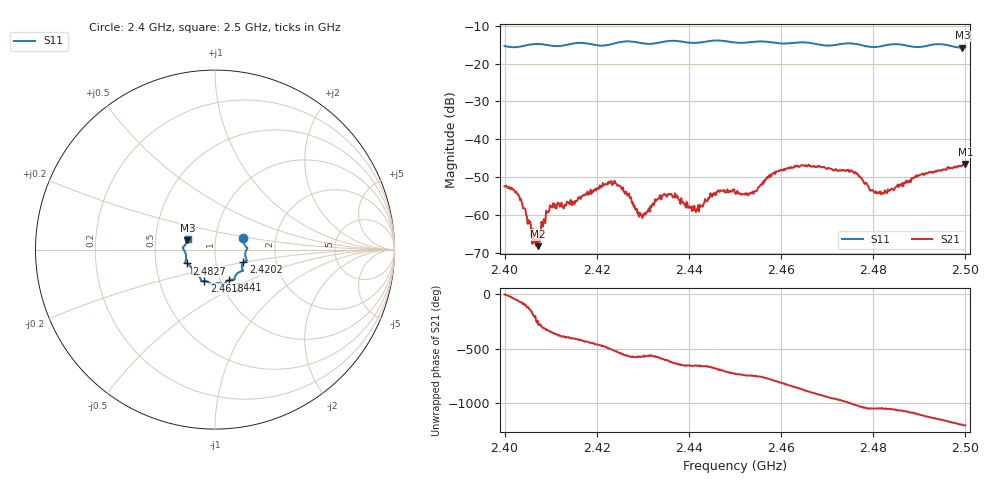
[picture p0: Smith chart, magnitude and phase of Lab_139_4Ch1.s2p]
# Hz S RI R
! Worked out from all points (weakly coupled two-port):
!   601 points, 2.4 GHz to 2.5 GHz, reference 50 ohm
!   highest |S21| = -46.52 dB at 2.5 GHz (marker M1); lowest = -68.3 dB at 2.4072 GHz (marker M2)
!   lowest |S11| = -15.8 dB at 2.4993 GHz (marker M3), VSWR 1.39, Z = 36.5 + j3.84 ohm
!   |S11| at or under -10 dB: start of sweep to end of sweep
!   S12 and S22 are empty: the file has one direction only
!   S11 on the Smith chart (normalised r, x): 2.4 GHz: 1.36, +0.18; 2.4202 GHz: 1.36, -0.20; 2.441 GHz: 1.10, -0.39; 2.4618 GHz: 0.84, -0.30; 2.4827 GHz: 0.72, -0.12; 2.5 GHz: 0.73, +0.09
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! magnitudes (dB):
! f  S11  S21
! 2.4 GHz  -15.4  -52.4
! 2.403 GHz  -15.6  -54.8
! 2.4072 GHz  -14.8  -68.3
! 2.4103 GHz  -15.3  -58.1
! 2.4167 GHz  -14.5  -55.1
! 2.4202 GHz  -15.2  -52.9
! 2.4243 GHz  -14.5  -51.9
! 2.4297 GHz  -14.6  -59.9
! 2.4333 GHz  -14.5  -55.7
! 2.4358 GHz  -14.0  -54.7
! 2.441 GHz  -14.6  -58.7
! 2.4465 GHz  -13.9  -53.6
! 2.45 GHz  -14.5  -54.2
! 2.454 GHz  -14.3  -54.4
! 2.4618 GHz  -14.7  -47.6
! 2.4667 GHz  -14.6  -47.2
! 2.4757 GHz  -14.7  -48.8
! 2.4798 GHz  -15.7  -53.4
! 2.4827 GHz  -15.2  -54.0
! 2.4833 GHz  -15.0  -53.7
! 2.4993 GHz  -15.8  -47.0
! 2.5 GHz  -15.7  -46.5
